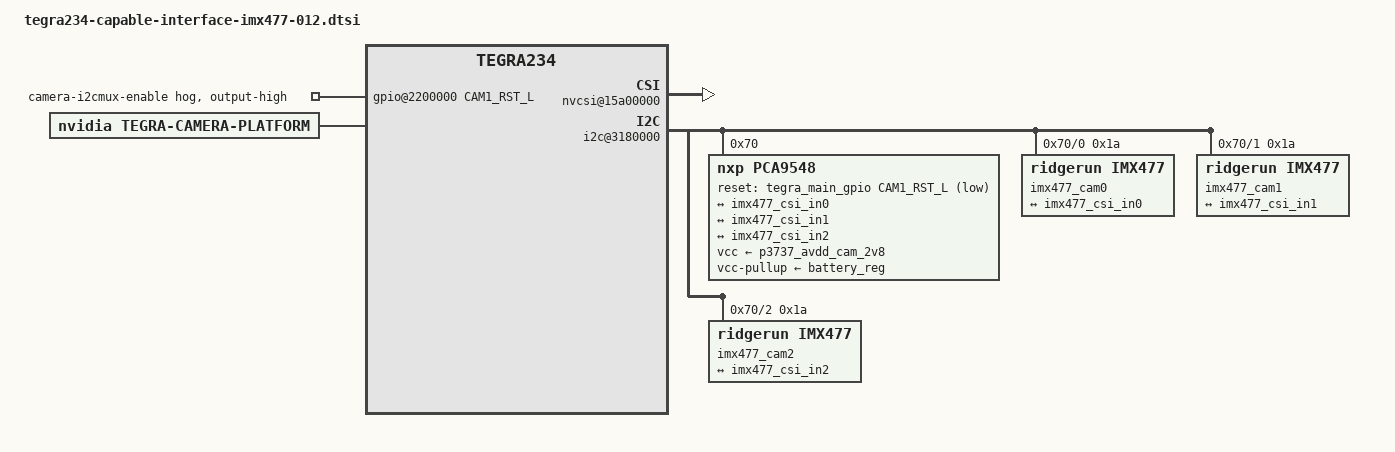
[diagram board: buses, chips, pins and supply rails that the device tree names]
/*
  * Copyright (c) 2023, Capable Robot Components Inc. All rights reserved.
  *
  * This program is free software; you can redistribute it and/or modify
  * it under the terms of the GNU General Public License as published by
  * the Free Software Foundation; either version 2 of the License, or
  * (at your option) any later version.
  *
  * This program is distributed in the hope that it will be useful, but WITHOUT
  * ANY WARRANTY; without even the implied warranty of MERCHANTABILITY or
  * FITNESS FOR A PARTICULAR PURPOSE.  See the GNU General Public License for
  * more details.
  *
  * You should have received a copy of the GNU General Public License
  * along with this program.  If not, see <http://www.gnu.org/licenses/>.
  */

#include <dt-bindings/media/camera.h>
#include <dt-bindings/gpio/tegra234-gpio.h>

#define CAMERA_I2C_MUX_BUS(x) (0x1E + x)
#define CAM0_RST_L TEGRA234_MAIN_GPIO(H, 3)
#define CAM1_RST_L TEGRA234_MAIN_GPIO(AC, 1)

/ {
    tegra-capture-vi {
        status = "okay";
        num-channels = <3>;
        ports {
            #address-cells = <1>;
            #size-cells = <0>;
            status = "okay";
            port@0 {
                reg = <0>;
                status = "okay";
                imx477_vi_in0: endpoint {
                    status = "okay";
                    port-index = <0>;
                    bus-width = <2>;
                    remote-endpoint = <&imx477_csi_out0>;
                };
            };
            port@1 {
                reg = <1>;
                status = "okay";
                imx477_vi_in1: endpoint {
                    status = "okay";
                    port-index = <1>;
                    bus-width = <2>;
                    remote-endpoint = <&imx477_csi_out1>;
                };
            };
            port@2 {
                reg = <2>;
                status = "okay";
                imx477_vi_in2: endpoint {
                    status = "okay";
                    port-index = <2>;
                    bus-width = <2>;
                    remote-endpoint = <&imx477_csi_out2>;
                };
            };
        };
    };

    host1x@13e00000 {
        nvcsi@15a00000 {
            status = "okay";
            num-channels = <3>;
            #address-cells = <1>;
            #size-cells = <0>;
            channel@0 {
                reg = <0>;
                status = "okay";
                ports {
                    #address-cells = <1>;
                    #size-cells = <0>;
                    status = "okay";
                    port@0 {
                        reg = <0>;
                        status = "okay";
                        imx477_csi_in0: endpoint@0 {
                            status = "okay";
                            port-index = <0>;
                            bus-width = <2>;
                            remote-endpoint = <&imx477_out0>;
                        };
                    };
                    port@1 {
                        reg = <1>;
                        status = "okay";
                        imx477_csi_out0: endpoint@1 {
                            status = "okay";
                            remote-endpoint = <&imx477_vi_in0>;
                        };
                    };
                };
            };
            channel@1 {
                reg = <1>;
                status = "okay";
                ports {
                    #address-cells = <1>;
                    #size-cells = <0>;
                    status = "okay";
                    port@2 {
                        reg = <0>;
                        status = "okay";
                        imx477_csi_in1: endpoint@2 {
                            status = "okay";
                            port-index = <1>;
                            bus-width = <2>;
                            remote-endpoint = <&imx477_out1>;
                        };
                    };
                    port@3 {
                        reg = <1>;
                        status = "okay";
                        imx477_csi_out1: endpoint@3 {
                            status = "okay";
                            remote-endpoint = <&imx477_vi_in1>;
                        };
                    };
                };
            };
            channel@2 {
                reg = <2>;
                status = "okay";
                ports {
                    #address-cells = <1>;
                    #size-cells = <0>;
                    status = "okay";
                    port@2 {
                        reg = <0>;
                        status = "okay";
                        imx477_csi_in2: endpoint@4 {
                            status = "okay";
                            port-index = <2>;
                            bus-width = <2>;
                            remote-endpoint = <&imx477_out2>;
                        };
                    };
                    port@3 {
                        reg = <1>;
                        status = "okay";
                        imx477_csi_out2: endpoint@5 {
                            status = "okay";
                            remote-endpoint = <&imx477_vi_in2>;
                        };
                    };
                };
            };
        };
    };

    gpio@2200000 {
        camera-i2cmux-enable {
            status = "okay";
            gpio-hog;
            output-high;
            gpios = <CAM1_RST_L 0>;
            label = "camera-i2cmux-enable";
        };
    };

    fixed-regulators {
        regulator@106 {
            regulator-boot-on;
            regulator-always-on;
        };
    };

    i2c@3180000 {
        status =  "okay";

        pca9548: pca9548@70 {
            status = "okay";
            compatible = "nxp,pca9548";
            reg = <0x70>;
            #address-cells = <1>;
            #size-cells = <0>;
            force_bus_start = <CAMERA_I2C_MUX_BUS(0)>;
            vcc-supply = <&p3737_avdd_cam_2v8>;
            vcc-pullup-supply = <&battery_reg>;
            reset-gpios = <&tegra_main_gpio CAM1_RST_L GPIO_ACTIVE_LOW>;

            i2c@0 {
                status = "okay";
                reg = <0>;
                i2c-mux,deselect-on-exit;
                #address-cells = <1>;
                #size-cells = <0>;

                imx477_cam0: imx477_a@1a {
                    compatible = "ridgerun,imx477";
                    status = "okay";

                    // reset-gpios = <&tegra_main_gpio CAM0_RST_L GPIO_ACTIVE_LOW>;

                    /* I2C device address */
                    reg = <0x1a>;

                    /* V4L2 device node location */
                    devnode = "video0";

                    /* Physical dimensions of sensor */
                    physical_w = "3.680";
                    physical_h = "2.760";

                    sensor_model = "imx477";

                    use_sensor_mode_id = "true";

#undef TEGRA_SINTERFACE
#define TEGRA_SINTERFACE "serial_a"
#include "tegra234-p3737-0000-camera-imx477-modes.dtsi"

                    ports {
                        #address-cells = <1>;
                        #size-cells = <0>;
                        status = "okay";

                        port@0 {
                            reg = <0>;
                            status = "okay";
                            imx477_out0: endpoint {
                                status = "okay";
                                port-index = <0>;
                                bus-width = <2>;
                                remote-endpoint = <&imx477_csi_in0>;
                            };
                        };
                    };
                };
            };

            i2c@1 {
                status = "okay";
                reg = <1>;
                i2c-mux,deselect-on-exit;
                #address-cells = <1>;
                #size-cells = <0>;

                imx477_cam1: imx477_b@1a {
                    compatible = "ridgerun,imx477";
                    status = "okay";

                    // reset-gpios = <&tegra_main_gpio CAM0_RST_L GPIO_ACTIVE_LOW>;

                    /* I2C device address */
                    reg = <0x1a>;

                    /* V4L2 device node location */
                    devnode = "video1";

                    /* Physical dimensions of sensor */
                    physical_w = "3.680";
                    physical_h = "2.760";

                    sensor_model = "imx477";

                    use_sensor_mode_id = "true";

#undef TEGRA_SINTERFACE
#define TEGRA_SINTERFACE "serial_b"
#include "tegra234-p3737-0000-camera-imx477-modes.dtsi"

                    ports {
                        #address-cells = <1>;
                        #size-cells = <0>;
                        status = "okay";
                        port@0 {
                            reg = <0>;
                            status = "okay";
                            imx477_out1: endpoint {
                                status = "okay";
                                port-index = <1>;
                                bus-width = <2>;
                                remote-endpoint = <&imx477_csi_in1>;
                            };
                        };
                    };
                };
            };

            i2c@2 {
                status = "okay";
                reg = <2>;
                i2c-mux,deselect-on-exit;
                #address-cells = <1>;
                #size-cells = <0>;

                imx477_cam2: imx477_c@1a {
                    compatible = "ridgerun,imx477";
                    status = "okay";

                    // reset-gpios = <&tegra_main_gpio CAM0_RST_L GPIO_ACTIVE_LOW>;

                    /* I2C device address */
                    reg = <0x1a>;

                    /* V4L2 device node location */
                    devnode = "video2";

                    /* Physical dimensions of sensor */
                    physical_w = "3.680";
                    physical_h = "2.760";

                    sensor_model = "imx477";

                    use_sensor_mode_id = "true";

#undef TEGRA_SINTERFACE
#define TEGRA_SINTERFACE "serial_c"
#include "tegra234-p3737-0000-camera-imx477-modes.dtsi"

                    ports {
                        #address-cells = <1>;
                        #size-cells = <0>;
                        status = "okay";
                        port@0 {
                            reg = <0>;
                            status = "okay";
                            imx477_out2: endpoint {
                                status = "okay";
                                port-index = <2>;
                                bus-width = <2>;
                                remote-endpoint = <&imx477_csi_in2>;
                            };
                        };
                    };
                };
            };
        };
    };
};

/ {
    tegra-camera-platform {
        compatible = "nvidia, tegra-camera-platform";

        /**
        * Physical settings to calculate max ISO BW
        *
        * num_csi_lanes = <>;
        * Total number of CSI lanes when all cameras are active
        *
        * max_lane_speed = <>;
        * Max lane speed in Kbit/s
        *
        * min_bits_per_pixel = <>;
        * Min bits per pixel
        *
        * vi_peak_byte_per_pixel = <>;
        * Max byte per pixel for the VI ISO case
        *
        * vi_bw_margin_pct = <>;
        * Vi bandwidth margin in percentage
        *
        * max_pixel_rate = <>;
        * Max pixel rate in Kpixel/s for the ISP ISO case
        *
        * isp_peak_byte_per_pixel = <>;
        * Max byte per pixel for the ISP ISO case
        *
        * isp_bw_margin_pct = <>;
        * Isp bandwidth margin in percentage
        */
        num_csi_lanes = <6>;
        max_lane_speed = <1500000>;
        min_bits_per_pixel = <10>;
        vi_peak_byte_per_pixel = <2>;
        vi_bw_margin_pct = <25>;
        max_pixel_rate = <7500000>;
        isp_peak_byte_per_pixel = <5>;
        isp_bw_margin_pct = <25>;
        tpg_max_iso = <3916800>;

        /**
         * The general guideline for naming badge_info contains 3 parts, and is as follows,
         * The first part is the camera_board_id for the module; if the module is in a FFD
         * platform, then use the platform name for this part.
         * The second part contains the position of the module, ex. "rear" or "front".
         * The third part contains the last 6 characters of a part number which is found
         * in the module's specsheet from the vendor.
         */
        modules {
            status = "okay";    
            module0 {
                badge = "nvidia_0_imx477";
                position = "0";
                orientation = "1";
                status = "okay";
                drivernode0 {
                    status = "okay";
                    pcl_id = "v4l2_sensor";
                    devname = "imx477 30-001a";
                    proc-device-tree = "/proc/device-tree/i2c@3180000/pca9548@70/i2c@0/imx477_a@1a";
                };
            };
            module1 {
                badge = "nvidia_1_imx477";
                position = "1";
                orientation = "1";
                status = "okay";
                drivernode0 {
                    status = "okay";
                    pcl_id = "v4l2_sensor";
                    devname = "imx477 31-001a";
                    proc-device-tree = "/proc/device-tree/i2c@3180000/pca9548@70/i2c@1/imx477_b@1a";
                };
            };
            module2 {
                badge = "nvidia_2_imx477";
                position = "2";
                orientation = "1";
                status = "okay";
                drivernode0 {
                    status = "okay";
                    pcl_id = "v4l2_sensor";
                    devname = "imx477 32-001a";
                    proc-device-tree = "/proc/device-tree/i2c@3180000/pca9548@70/i2c@2/imx477_c@1a";
                };
            };
        };
    };
 };
